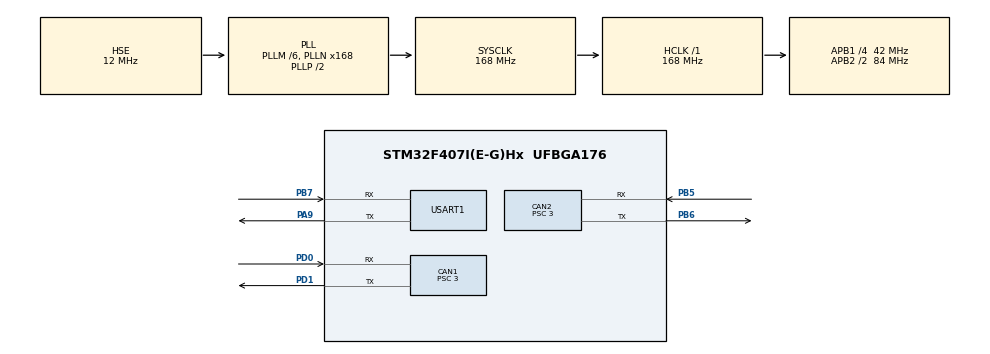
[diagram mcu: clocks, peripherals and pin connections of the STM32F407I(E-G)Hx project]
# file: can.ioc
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CAN1.BS1=CAN_BS1_10TQ
CAN1.BS2=CAN_BS2_3TQ
CAN1.CalculateBaudRate=1000000
CAN1.CalculateTimeQuantum=71.42857142857143
CAN1.Prescaler=3
CAN2.BS1=CAN_BS1_10TQ
CAN2.BS2=CAN_BS2_3TQ
CAN2.CalculateBaudRate=1000000
CAN2.CalculateTimeQuantum=71.42857142857143
CAN2.Prescaler=3
Mcu.Family=STM32F4
Mcu.Name=STM32F407I(E-G)Hx
Mcu.Package=UFBGA176
NVIC.CAN1_RX0_IRQn=true\:0\:0\:false\:false\:true\:true\:true\:true
NVIC.CAN2_RX0_IRQn=true\:0\:0\:false\:false\:true\:true\:true\:true
NVIC.PriorityGroup=NVIC_PRIORITYGROUP_4
PA13.Mode=Serial_Wire
PA13.Signal=SYS_JTMS-SWDIO
PA14.Mode=Serial_Wire
PA14.Signal=SYS_JTCK-SWCLK
PA9.Mode=Asynchronous
PA9.Signal=USART1_TX
PB5.Mode=CAN_Activate
PB5.Signal=CAN2_RX
PB6.Mode=CAN_Activate
PB6.Signal=CAN2_TX
PB7.Mode=Asynchronous
PB7.Signal=USART1_RX
PD0.Mode=CAN_Activate
PD0.Signal=CAN1_RX
PD1.Mode=CAN_Activate
PD1.Signal=CAN1_TX
PH0-OSC_IN.Mode=HSE-External-Oscillator
PH0-OSC_IN.Signal=RCC_OSC_IN
PH1-OSC_OUT.Mode=HSE-External-Oscillator
PH1-OSC_OUT.Signal=RCC_OSC_OUT
ProjectManager.HeapSize=0x200
ProjectManager.StackSize=0x400
ProjectManager.TargetToolchain=MDK-ARM V5
RCC.48MHZClocksFreq_Value=84000000
RCC.AHBFreq_Value=168000000
RCC.APB1CLKDivider=RCC_HCLK_DIV4
RCC.APB1Freq_Value=42000000
RCC.APB1TimFreq_Value=84000000
RCC.APB2CLKDivider=RCC_HCLK_DIV2
RCC.APB2Freq_Value=84000000
RCC.APB2TimFreq_Value=168000000
RCC.CortexFreq_Value=168000000
RCC.HCLKFreq_Value=168000000
RCC.HSE_VALUE=12000000
RCC.HSI_VALUE=16000000
RCC.LSE_VALUE=32768
RCC.PLLM=6
RCC.PLLN=168
RCC.PLLSourceVirtual=RCC_PLLSOURCE_HSE
RCC.SYSCLKFreq_VALUE=168000000
RCC.SYSCLKSource=RCC_SYSCLKSOURCE_PLLCLK
RCC.VCOOutputFreq_Value=336000000
USART1.VirtualMode=VM_ASYNC
board=custom

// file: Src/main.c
/* USER CODE BEGIN Header */
/**
 ******************************************************************************

 ******************************************************************************
 */
/* USER CODE END Header */
#include "main.h"
#include "can.h"
#include "usart.h"
#include "gpio.h"

/* USER CODE BEGIN Includes */
#include "bsp_can.h"
#include "CAN_receive.h"
#include "my_pid.h"
#include <stdio.h>
/* USER CODE END Includes */

void SystemClock_Config(void);
/* USER CODE BEGIN PFP */
void init_motor_position(void);
/* USER CODE END PFP */

/* USER CODE BEGIN 0 */
extern motor_measure_t motor_chassis;
pid_parameter_t speed_pid;
pid_parameter_t position_pid;
/* USER CODE END 0 */

int main(void)
{

  /* MCU Configuration--------------------------------------------------------*/

  /* Reset of all peripherals, Initializes the Flash interface and the Systick. */
  HAL_Init();

  /* Configure the system clock */
  SystemClock_Config();

  /* Initialize all configured peripherals */
  MX_GPIO_Init();
  MX_CAN1_Init();
  MX_CAN2_Init();
  MX_USART1_UART_Init();
  /* USER CODE BEGIN 2 */
	can_filter_init();
	PidInit(&speed_pid, 8, 0.00, 0.00, 2000, 100, 50);
	PidInit(&position_pid, 0.1, 0, 0.00, 300, 0, 20);
  /* USER CODE END 2 */

  /* Infinite loop */
  /* USER CODE BEGIN WHILE */
  printf("happy start\r\n");
  init_motor_position();
  HAL_Delay(50);
	while (1)
	{
    /* USER CODE END WHILE */

    /* USER CODE BEGIN 3 */
		motor_chassis.set_totall_ecd = - 9 * 8192;
		motor_chassis.set_speed = PidCalculate(&position_pid, motor_chassis.set_totall_ecd, motor_chassis.totall_ecd);
		motor_chassis.set_current = PidCalculate(&speed_pid, motor_chassis.set_speed, motor_chassis.speed_rpm);
		printf("%d %d %d %d \r\n", motor_chassis.set_totall_ecd,motor_chassis.totall_ecd ,motor_chassis.actual_angle, motor_chassis.set_current);
		CAN_cmd_chassis(motor_chassis.set_current, 0, 0, 0);
		// CAN_cmd_chassis(0, 0, 0, 0);
		HAL_Delay(20);
	}
  /* USER CODE END 3 */
}

void SystemClock_Config(void)
{
  RCC_OscInitTypeDef RCC_OscInitStruct = {0};
  RCC_ClkInitTypeDef RCC_ClkInitStruct = {0};

  /** Configure the main internal regulator output voltage
  */
  __HAL_RCC_PWR_CLK_ENABLE();
  __HAL_PWR_VOLTAGESCALING_CONFIG(PWR_REGULATOR_VOLTAGE_SCALE1);

  /** Initializes the RCC Oscillators according to the specified parameters
  * in the RCC_OscInitTypeDef structure.
  */
  RCC_OscInitStruct.OscillatorType = RCC_OSCILLATORTYPE_HSE;
  RCC_OscInitStruct.HSEState = RCC_HSE_ON;
  RCC_OscInitStruct.PLL.PLLState = RCC_PLL_ON;
  RCC_OscInitStruct.PLL.PLLSource = RCC_PLLSOURCE_HSE;
  RCC_OscInitStruct.PLL.PLLM = 6;
  RCC_OscInitStruct.PLL.PLLN = 168;
  RCC_OscInitStruct.PLL.PLLP = RCC_PLLP_DIV2;
  RCC_OscInitStruct.PLL.PLLQ = 4;
  if (HAL_RCC_OscConfig(&RCC_OscInitStruct) != HAL_OK)
  {
    Error_Handler();
  }

  /** Initializes the CPU, AHB and APB buses clocks
  */
  RCC_ClkInitStruct.ClockType = RCC_CLOCKTYPE_HCLK|RCC_CLOCKTYPE_SYSCLK
                              |RCC_CLOCKTYPE_PCLK1|RCC_CLOCKTYPE_PCLK2;
  RCC_ClkInitStruct.SYSCLKSource = RCC_SYSCLKSOURCE_PLLCLK;
  RCC_ClkInitStruct.AHBCLKDivider = RCC_SYSCLK_DIV1;
  RCC_ClkInitStruct.APB1CLKDivider = RCC_HCLK_DIV4;
  RCC_ClkInitStruct.APB2CLKDivider = RCC_HCLK_DIV2;

  if (HAL_RCC_ClockConfig(&RCC_ClkInitStruct, FLASH_LATENCY_5) != HAL_OK)
  {
    Error_Handler();
  }
}

/* USER CODE BEGIN 4 */
int fputc(int ch, FILE* stream)
{
	//USART_SendData(USART1, (unsigned char) ch);
	//while (!(USART1->SR & USART_FLAG_TXE));
	HAL_UART_Transmit(&huart1 , (uint8_t *)&ch, 1 , 0xffff);
	return ch;
}

void init_motor_position(void){
  int i = 15;
  int last_roll = 0;
  uint32_t current = 1800;
  while(i!=0){
    HAL_Delay(10);
    current -= 50;
    CAN_cmd_chassis(current, 0, 0, 0);
    if(motor_chassis.rolls == last_roll){
      i--;
    }
    last_roll = motor_chassis.rolls;
  }
  CAN_cmd_chassis(0, 0, 0, 0);
  motor_chassis.rolls = 0;
}

/* USER CODE END 4 */

void Error_Handler(void)
{
}
